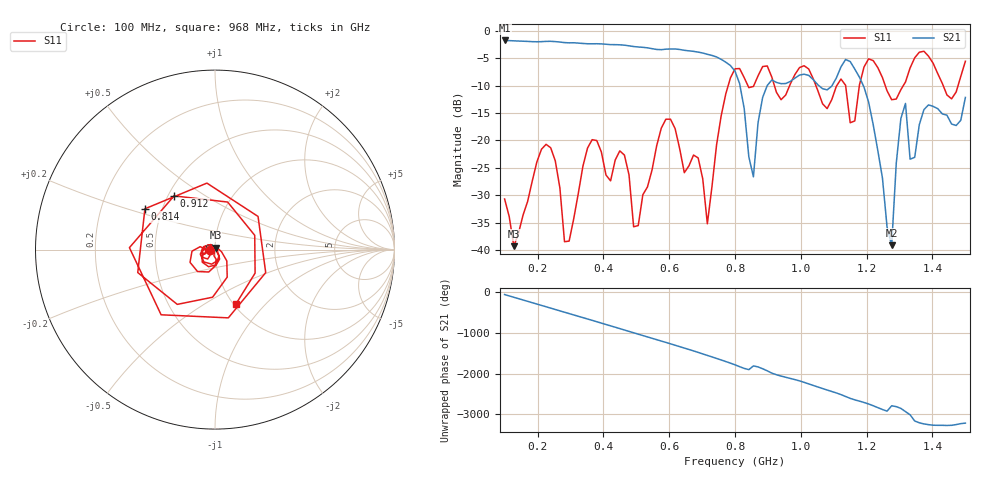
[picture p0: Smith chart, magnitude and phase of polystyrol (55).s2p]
! NanoVNA-App
! Date: 2025-09-26 09:42:18
! Start: 100MHz Stop: 1,5GHz Points: 101
! S-Parameter data: F S11 S21 S12 S22
# Hz S RI R 50
!  Frequency  S11_Real  S11_Imag  S21_Real  S21_Imag  S12_Real  S12_Imag  S22_Real  S22_Imag
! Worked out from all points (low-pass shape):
!   101 points, 100 MHz to 1.5 GHz, reference 50 ohm
!   highest |S21| = -1.79 dB at 100 MHz (marker M1); lowest = -39.1 dB at 1.276 GHz (marker M2)
!   |S21| within 3 dB of the highest: start of sweep to 743.5 MHz
!   lowest |S11| = -39.2 dB at 128 MHz (marker M3), VSWR 1.02, Z = 50.3 + j1.06 ohm
!   |S11| at or under -10 dB: start of sweep to 779.3 MHz; 1.046 GHz to 1.109 GHz (63.62 MHz wide, 5.9 % of centre); 1.256 GHz to 1.311 GHz (55.03 MHz wide, 4.29 % of centre)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
!   S12 and S22 are empty: the file has one direction only
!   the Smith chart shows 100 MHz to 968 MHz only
!   S11 on the Smith chart (normalised r, x): 100 MHz: 0.94, -0.01; 814 MHz: 0.40, +0.23; 912 MHz: 0.54, +0.37; 968 MHz: 1.02, -0.70
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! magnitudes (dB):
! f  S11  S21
! 100 MHz  -30.7  -1.8
! 128 MHz  -39.2  -1.9
! 212 MHz  -21.6  -2.0
! 254 MHz  -23.7  -2.0
! 282 MHz  -38.4  -2.2
! 338 MHz  -24.7  -2.3
! 464 MHz  -22.7  -2.6
! 506 MHz  -35.5  -3.0
! 576 MHz  -17.8  -3.5
! 688 MHz  -23.2  -3.9
! 716 MHz  -35.2  -4.3
! 800 MHz  -7.0  -7.4
! 814 MHz  -6.9  -9.6
! 856 MHz  -10.2  -26.6
! 912 MHz  -8.5  -9.0
! 968 MHz  -9.7  -9.3
! 1.038 GHz  -8.8  -8.9
! 1.178 GHz  -9.9  -8.5
! 1.276 GHz  -12.6  -39.1
! 1.318 GHz  -9.3  -13.3
! 1.332 GHz  -6.8  -23.4
! 1.5 GHz  -5.6  -12.2
